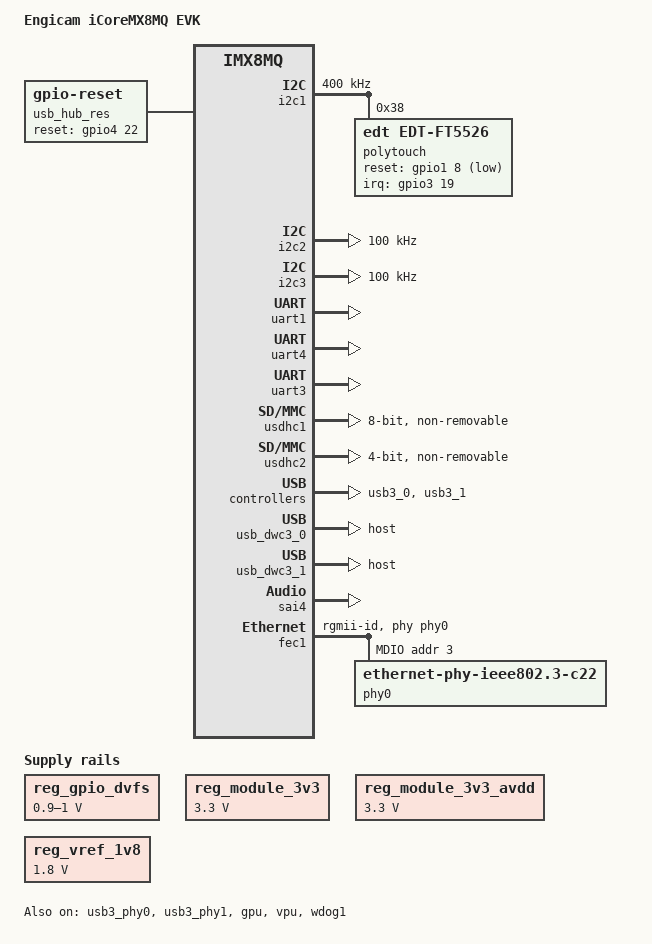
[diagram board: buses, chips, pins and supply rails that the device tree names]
/*
 * Copyright 2017 NXP
 *
 * This program is free software; you can redistribute it and/or
 * modify it under the terms of the GNU General Public License
 * as published by the Free Software Foundation; either version 2
 * of the License, or (at your option) any later version.
 *
 * This program is distributed in the hope that it will be useful,
 * but WITHOUT ANY WARRANTY; without even the implied warranty of
 * MERCHANTABILITY or FITNESS FOR A PARTICULAR PURPOSE.  See the
 * GNU General Public License for more details.
 */

/dts-v1/;

//#include "../freescale/fsl-imx8mq.dtsi"
#include "icoremx8mq.dtsi"
#include "icoremx8m-lcdif-sn65dsi83.dtsi"
#include "icoremx8m-laird.dtsi"
#include "icoremx8m-sgtl5000.dtsi"
//#include "icoremx8m-hdmi.dtsi"

/ {
	model = "Engicam iCoreMX8MQ EVK";
	compatible = "fsl,imx8mq-evk", "fsl,imx8mq";

	regulators {
		compatible = "simple-bus";
		#address-cells = <1>;
		#size-cells = <0>;

		reg_usdhc2_vmmc: usdhc2_vmmc {
            compatible = "regulator-dummy"; 
		};

		reg_gpio_dvfs: regulator-gpio {
            pinctrl-names = "default";
			pinctrl-0 = <&pinctrl_dvfs>;
			compatible = "regulator-gpio";
            regulator-name = "CPU-BOOST";
			regulator-min-microvolt = <900000>;
			regulator-max-microvolt = <1000000>;
			gpios = <&gpio4 2 GPIO_ACTIVE_HIGH>;
            regulator-type = "voltage";
            states = <900000 0x0 1000000 0x1>;
		};
        
	};
/*    
    sound-hdmi {
		compatible = "fsl,imx-audio-cdnhdmi";
		model = "imx-audio-hdmi";
		audio-cpu = <&sai4>;
		protocol = <1>;
	};

   	sound-hdmi-arc {
		compatible = "fsl,imx-audio-spdif";
		model = "imx-hdmi-arc";
		spdif-controller = <&spdif2>;
		spdif-in;
	};
*/
    reg_module_3v3: regulator-module-3v3 {
        compatible = "regulator-fixed";
        regulator-name = "+V3.3";
        regulator-min-microvolt = <3300000>;
        regulator-max-microvolt = <3300000>;
    };

    reg_module_3v3_avdd: regulator-module-3v3-avdd {
        compatible = "regulator-fixed";
        regulator-name = "+V3.3_AVDD_AUDIO";
        regulator-min-microvolt = <3300000>;
        regulator-max-microvolt = <3300000>;
    };

    reg_vref_1v8: regulator-vref-1v8 {
        compatible = "regulator-fixed";
        regulator-name = "vref-1v8";
        regulator-min-microvolt = <1800000>;
        regulator-max-microvolt = <1800000>;
    };
};


&iomuxc {
    	icoremx8mq {        
        pinctrl_csi1: csi1grp {
			fsl,pins = <
				MX8MQ_IOMUXC_GPIO1_IO03_GPIO1_IO3		0x19
				MX8MQ_IOMUXC_GPIO1_IO06_GPIO1_IO6		0x19
				MX8MQ_IOMUXC_GPIO1_IO15_CCMSRCGPCMIX_CLKO2	0x59
			>;
		};
		pinctrl_csi2: csi2grp {
			fsl,pins = <
				MX8MQ_IOMUXC_GPIO1_IO05_GPIO1_IO5		0x19
				MX8MQ_IOMUXC_GPIO1_IO06_GPIO1_IO6		0x19
				MX8MQ_IOMUXC_GPIO1_IO15_CCMSRCGPCMIX_CLKO2	0x59
			>;
		};

		pinctrl_i2c1: i2c1grp {
			fsl,pins = <
				MX8MQ_IOMUXC_I2C1_SCL_I2C1_SCL			0x4000007f
				MX8MQ_IOMUXC_I2C1_SDA_I2C1_SDA			0x4000007f
			>;
		};

		pinctrl_i2c2: i2c2grp {
			fsl,pins = <
				MX8MQ_IOMUXC_I2C2_SCL_I2C2_SCL			0x4000007f
				MX8MQ_IOMUXC_I2C2_SDA_I2C2_SDA			0x4000007f
			>;
		};

   		pinctrl_i2c3: i2c3grp {
			fsl,pins = <
				MX8MQ_IOMUXC_I2C3_SCL_I2C3_SCL			0x4000007f
				MX8MQ_IOMUXC_I2C3_SDA_I2C3_SDA			0x4000007f
			>;
		};
        
		pinctrl_pcie0: pcie0grp {
			fsl,pins = <
				MX8MQ_IOMUXC_SAI5_RXD3_GPIO3_IO24	0x16
			>;
		};

		pinctrl_pcie1: pcie1grp {
			fsl,pins = <
				MX8MQ_IOMUXC_I2C4_SDA_GPIO5_IO21	0x16
				MX8MQ_IOMUXC_ECSPI2_SCLK_GPIO5_IO10	0x16
				MX8MQ_IOMUXC_ECSPI2_MISO_GPIO5_IO12	0x16
			>;
		};

		pinctrl_dvfs: dvfsgrp {
			fsl,pins = <
                MX8MQ_IOMUXC_SAI1_RXD0_GPIO4_IO2		0x19 // gpio overclock
			>;
		};

		pinctrl_uart1: uart1grp {
			fsl,pins = <
				MX8MQ_IOMUXC_UART1_RXD_UART1_DCE_RX		0x49
				MX8MQ_IOMUXC_UART1_TXD_UART1_DCE_TX		0x49
			>;
		};

   		pinctrl_uart4: uart4grp {
			fsl,pins = <
				MX8MQ_IOMUXC_UART4_TXD_UART4_DCE_TX		0x49
				MX8MQ_IOMUXC_UART4_RXD_UART4_DCE_RX		0x49
			>;
		};

		pinctrl_uart3: uart3grp {
			fsl,pins = <
				MX8MQ_IOMUXC_UART3_TXD_UART3_DCE_TX		0x49
				MX8MQ_IOMUXC_UART3_RXD_UART3_DCE_RX		0x49
				MX8MQ_IOMUXC_ECSPI1_MISO_UART3_DCE_CTS_B	0x49
				MX8MQ_IOMUXC_ECSPI1_SS0_UART3_DCE_RTS_B		0x49
			>;
		};

		pinctrl_usdhc1: usdhc1grp {
			fsl,pins = <
				MX8MQ_IOMUXC_SD1_CLK_USDHC1_CLK			0x85
				MX8MQ_IOMUXC_SD1_CMD_USDHC1_CMD			0xc3
				MX8MQ_IOMUXC_SD1_DATA0_USDHC1_DATA0		0xc5
				MX8MQ_IOMUXC_SD1_DATA1_USDHC1_DATA1		0xc5
				MX8MQ_IOMUXC_SD1_DATA2_USDHC1_DATA2		0xc5
				MX8MQ_IOMUXC_SD1_DATA3_USDHC1_DATA3		0xc5
				MX8MQ_IOMUXC_SD1_DATA4_USDHC1_DATA4		0xc3
				MX8MQ_IOMUXC_SD1_DATA5_USDHC1_DATA5		0xc3
				MX8MQ_IOMUXC_SD1_DATA6_USDHC1_DATA6		0xc3
				MX8MQ_IOMUXC_SD1_DATA7_USDHC1_DATA7		0xc3
				MX8MQ_IOMUXC_SD1_STROBE_USDHC1_STROBE		0x83
				MX8MQ_IOMUXC_SD1_RESET_B_USDHC1_RESET_B		0xc1
			>;
		};

		pinctrl_usdhc1_100mhz: usdhc1grp100mhz {
			fsl,pins = <
				MX8MQ_IOMUXC_SD1_CLK_USDHC1_CLK			0x85
				MX8MQ_IOMUXC_SD1_CMD_USDHC1_CMD			0xc5
				MX8MQ_IOMUXC_SD1_DATA0_USDHC1_DATA0		0xc5
				MX8MQ_IOMUXC_SD1_DATA1_USDHC1_DATA1		0xc5
				MX8MQ_IOMUXC_SD1_DATA2_USDHC1_DATA2		0xc5
				MX8MQ_IOMUXC_SD1_DATA3_USDHC1_DATA3		0xc5
				MX8MQ_IOMUXC_SD1_DATA4_USDHC1_DATA4		0xc5
				MX8MQ_IOMUXC_SD1_DATA5_USDHC1_DATA5		0xc5
				MX8MQ_IOMUXC_SD1_DATA6_USDHC1_DATA6		0xc5
				MX8MQ_IOMUXC_SD1_DATA7_USDHC1_DATA7		0xc5
				MX8MQ_IOMUXC_SD1_STROBE_USDHC1_STROBE		0x85
				MX8MQ_IOMUXC_SD1_RESET_B_USDHC1_RESET_B		0xc1
			>;
		};

		pinctrl_usdhc1_200mhz: usdhc1grp200mhz {
			fsl,pins = <
				MX8MQ_IOMUXC_SD1_CLK_USDHC1_CLK			0x87
				MX8MQ_IOMUXC_SD1_CMD_USDHC1_CMD			0xc7
				MX8MQ_IOMUXC_SD1_DATA0_USDHC1_DATA0		0xc7
				MX8MQ_IOMUXC_SD1_DATA1_USDHC1_DATA1		0xc7
				MX8MQ_IOMUXC_SD1_DATA2_USDHC1_DATA2		0xc7
				MX8MQ_IOMUXC_SD1_DATA3_USDHC1_DATA3		0xc7
				MX8MQ_IOMUXC_SD1_DATA4_USDHC1_DATA4		0xc7
				MX8MQ_IOMUXC_SD1_DATA5_USDHC1_DATA5		0xc7
				MX8MQ_IOMUXC_SD1_DATA6_USDHC1_DATA6		0xc7
				MX8MQ_IOMUXC_SD1_DATA7_USDHC1_DATA7		0xc7
				MX8MQ_IOMUXC_SD1_STROBE_USDHC1_STROBE		0x87
				MX8MQ_IOMUXC_SD1_RESET_B_USDHC1_RESET_B		0xc1
			>;
		};

		pinctrl_usdhc2: usdhc2grp {
			fsl,pins = <
				MX8MQ_IOMUXC_SD2_CLK_USDHC2_CLK			0x83
				MX8MQ_IOMUXC_SD2_CMD_USDHC2_CMD			0xc3
				MX8MQ_IOMUXC_SD2_DATA0_USDHC2_DATA0		0xc3
				MX8MQ_IOMUXC_SD2_DATA1_USDHC2_DATA1		0xc3
				MX8MQ_IOMUXC_SD2_DATA2_USDHC2_DATA2		0xc3
				MX8MQ_IOMUXC_SD2_DATA3_USDHC2_DATA3		0xc3
				MX8MQ_IOMUXC_GPIO1_IO06_GPIO1_IO6       0x41
			>;
		};

		pinctrl_usdhc2_100mhz: usdhc2grp100mhz {
			fsl,pins = <
				MX8MQ_IOMUXC_SD2_CLK_USDHC2_CLK			0x85
				MX8MQ_IOMUXC_SD2_CMD_USDHC2_CMD			0xc5
				MX8MQ_IOMUXC_SD2_DATA0_USDHC2_DATA0		0xc5
				MX8MQ_IOMUXC_SD2_DATA1_USDHC2_DATA1		0xc5
				MX8MQ_IOMUXC_SD2_DATA2_USDHC2_DATA2		0xc5
				MX8MQ_IOMUXC_SD2_DATA3_USDHC2_DATA3		0xc5
				MX8MQ_IOMUXC_GPIO1_IO06_GPIO1_IO6       0x41
			>;
		};

		pinctrl_usdhc2_200mhz: usdhc2grp200mhz {
			fsl,pins = <
				MX8MQ_IOMUXC_SD2_CLK_USDHC2_CLK			0x87
				MX8MQ_IOMUXC_SD2_CMD_USDHC2_CMD			0xc7
				MX8MQ_IOMUXC_SD2_DATA0_USDHC2_DATA0		0xc7
				MX8MQ_IOMUXC_SD2_DATA1_USDHC2_DATA1		0xc7
				MX8MQ_IOMUXC_SD2_DATA2_USDHC2_DATA2		0xc7
				MX8MQ_IOMUXC_SD2_DATA3_USDHC2_DATA3		0xc7
				MX8MQ_IOMUXC_GPIO1_IO06_GPIO1_IO6       0x41
			>;
		};

		pinctrl_spdif1: spdif1grp {
			fsl,pins = <
				MX8MQ_IOMUXC_SPDIF_TX_SPDIF1_OUT	0xd6
				MX8MQ_IOMUXC_SPDIF_RX_SPDIF1_IN		0xd6
			>;
		};
		
		
		pinctrl_edt_ft5x26: ft5x26grp {
			fsl,pins = <
				MX8MQ_IOMUXC_SAI5_RXFS_GPIO3_IO19 0x41 /*interrupt PIN7*/ 
				MX8MQ_IOMUXC_GPIO1_IO08_GPIO1_IO8 0x41 /*reset edt*/
			>;		
		};
		
	};
};

&i2c1 {
	clock-frequency = <400000>;
	pinctrl-names = "default";
	pinctrl-0 = <&pinctrl_i2c1>;
	status = "okay";
	
	polytouch: edt-ft5x26@38 {
		compatible = "edt,edt-ft5526";
		reg = <0x38>;
		pinctrl-names = "default";		
		pinctrl-0 = <&pinctrl_edt_ft5x26>;
		interrupt-parent = <&gpio3>;
		interrupts = <19 0>;	
		reset-gpios = <&gpio1 8 1>;
	};

};

&i2c2 {
	clock-frequency = <100000>;
	pinctrl-names = "default";
	pinctrl-0 = <&pinctrl_i2c2>;
	status = "okay";
};


&i2c3 {
	clock-frequency = <100000>;
	pinctrl-names = "default";
	pinctrl-0 = <&pinctrl_i2c3>;
	status = "okay";
};


&pcie0{
	pinctrl-names = "default";
	pinctrl-0 = <&pinctrl_pcie0>;
	reset-gpio = <&gpio3 24 GPIO_ACTIVE_LOW>;
	ext_osc = <1>;
	hard-wired = <0>;
	status = "disabled";
};

&pcie1{
	pinctrl-names = "default";
	pinctrl-0 = <&pinctrl_pcie1>;
	clkreq-gpio = <&gpio5 21 GPIO_ACTIVE_LOW>;
	disable-gpio = <&gpio5 10 GPIO_ACTIVE_LOW>;
	reset-gpio = <&gpio5 12 GPIO_ACTIVE_LOW>;
	ext_osc = <1>;
	status = "disabled";
};


&uart1 { 
	pinctrl-names = "default";
	pinctrl-0 = <&pinctrl_uart1>;
	assigned-clocks = <&clk IMX8MQ_CLK_UART1>;
	assigned-clock-parents = <&clk IMX8MQ_CLK_25M>;
	status = "okay";
};

&uart4 { 
	pinctrl-names = "default";
	pinctrl-0 = <&pinctrl_uart4>;
	assigned-clocks = <&clk IMX8MQ_CLK_UART4>;
	assigned-clock-parents = <&clk IMX8MQ_CLK_25M>;
	status = "okay";
};

&uart3 { /* BT */
	pinctrl-names = "default";
	pinctrl-0 = <&pinctrl_uart3>;
	assigned-clocks = <&clk IMX8MQ_CLK_UART3>;
	assigned-clock-parents = <&clk IMX8MQ_SYS1_PLL_80M>;
	fsl,uart-has-rtscts;
	status = "okay";
};


&usdhc1 {
	pinctrl-names = "default", "state_100mhz", "state_200mhz";
	pinctrl-0 = <&pinctrl_usdhc1>;
	pinctrl-1 = <&pinctrl_usdhc1_100mhz>;
	pinctrl-2 = <&pinctrl_usdhc1_200mhz>;
	bus-width = <8>;
    max-frequency = <25000000>;	
	non-removable;
	status = "okay";	
};

&usdhc2 {
	pinctrl-names = "default", "state_100mhz", "state_200mhz";
	pinctrl-0 = <&pinctrl_usdhc2>;
	pinctrl-1 = <&pinctrl_usdhc2_100mhz>;
	pinctrl-2 = <&pinctrl_usdhc2_200mhz>;
	bus-width = <4>;
    max-frequency = <25000000>;	
	non-removable;
	status = "okay";
};

&iomuxc {
	icoremx8m {
        	pinctrl_usb2_reset: usb2grp {
			fsl,pins = <
                MX8MQ_IOMUXC_SAI2_RXC_GPIO4_IO22 0x19
			>;
		};
    };
};

/ {
    usb_hub_res:gpio-reset {
        compatible = "gpio-reset";
        pinctrl-names = "default";
        pinctrl-0 = <&pinctrl_usb2_reset>;
        reset-gpios = <&gpio4 22 GPIO_ACTIVE_HIGH>;
        initially-in-reset;
        reset-delay-us = <100000>;
        #reset-cells = <0>;
    };
};


&usb3_phy0 {
	status = "okay";
};

&usb3_0 {
    resets = <&usb_hub_res>;
	status = "okay";
};


&usb_dwc3_0 {
	status = "okay";
	dr_mode = "host";
};

&usb3_phy1 {
	status = "okay";
};

&usb3_1 {
	status = "okay";
};

&usb_dwc3_1 {
	status = "okay";
	dr_mode = "host";
};


&sai4 {
	assigned-clocks = <&clk IMX8MQ_CLK_SAI4>;
	assigned-clock-parents = <&clk IMX8MQ_AUDIO_PLL1_OUT>;
	assigned-clock-rates = <24576000>;
	clocks = <&clk IMX8MQ_CLK_SAI4_IPG>, <&clk IMX8MQ_CLK_DUMMY>,
		<&clk IMX8MQ_CLK_SAI4_ROOT>, <&clk IMX8MQ_CLK_DUMMY>,
		<&clk IMX8MQ_CLK_DUMMY>, <&clk IMX8MQ_AUDIO_PLL1_OUT>,
		<&clk IMX8MQ_AUDIO_PLL2_OUT>;
	clock-names = "bus", "mclk0", "mclk1", "mclk2", "mclk3", "pll8k", "pll11k";
	status = "okay";
};


&gpu_pd {
	power-supply = <&reg_vref_1v8>;
};

&vpu_pd {
	power-supply = <&reg_vref_1v8>;
};

&gpu {
	status = "okay";
};

&vpu {
	status = "okay";
};


&mu {
	status = "disabled";
};

&rpmsg{
	/*
	 * 64K for one rpmsg instance:
	 * --0xb8000000~0xb800ffff: pingpong
	 */
	vdev-nums = <1>;
	reg = <0x0 0xb8000000 0x0 0x10000>;
	status = "disabled";
};

&A53_0 {
	operating-points = <
		/* kHz    uV */
		1500000 1000000
		1300000 1000000
		1000000 900000
		800000  900000
	>;
	dc-supply = <&reg_gpio_dvfs>;
};

&csi1_bridge {
	fsl,mipi-mode;
	fsl,two-8bit-sensor-mode;
	status = "disabled";
};

&csi2_bridge {
	fsl,mipi-mode;
	fsl,two-8bit-sensor-mode;
	status = "disabled";
};

&mipi_csi_1 {
	#address-cells = <1>;
	#size-cells = <0>;
	status = "disabled";
};

&mipi_csi_2 {
	#address-cells = <1>;
	#size-cells = <0>;
	status = "disabled";
};

&iomuxc {
	icoremx8m {
        	pinctrl_fec1: fec1grp {
			fsl,pins = <
				MX8MQ_IOMUXC_ENET_MDC_ENET1_MDC		    0x3
				MX8MQ_IOMUXC_ENET_MDIO_ENET1_MDIO	    0x23
				MX8MQ_IOMUXC_ENET_TXC_ENET1_RGMII_TXC	0x1f
				MX8MQ_IOMUXC_ENET_TD3_ENET1_RGMII_TD3	0x1f
				MX8MQ_IOMUXC_ENET_TD2_ENET1_RGMII_TD2	0x1f
				MX8MQ_IOMUXC_ENET_TD1_ENET1_RGMII_TD1	0x1f
				MX8MQ_IOMUXC_ENET_TD0_ENET1_RGMII_TD0	0x1f
				MX8MQ_IOMUXC_ENET_RXC_ENET1_RGMII_RXC	0x91
				MX8MQ_IOMUXC_ENET_RD3_ENET1_RGMII_RD3	0x91
				MX8MQ_IOMUXC_ENET_RD2_ENET1_RGMII_RD2	0x91
				MX8MQ_IOMUXC_ENET_RD1_ENET1_RGMII_RD1	0x91
				MX8MQ_IOMUXC_ENET_RD0_ENET1_RGMII_RD0	0x91
				MX8MQ_IOMUXC_ENET_RX_CTL_ENET1_RGMII_RX_CTL	0x91
				MX8MQ_IOMUXC_ENET_TX_CTL_ENET1_RGMII_TX_CTL	0x1f
								
				MX8MQ_IOMUXC_GPIO1_IO09_GPIO1_IO9	0x19
				MX8MQ_IOMUXC_GPIO1_IO14_CCMSRCGPCMIX_CLKO1	0xd
			>;
		};
    };
};

&fec1 {
	pinctrl-names = "default";
	pinctrl-0 = <&pinctrl_fec1>;
	phy-mode = "rgmii-id";
	phy-handle = <&phy0>;
	status = "okay";

    mdio {
        	#address-cells = <1>;
            #size-cells = <0>;
            phy0: ethernet-phy@3 {
                    reg = <3>;
                    compatible = "ethernet-phy-ieee802.3-c22";
                    device_type = "ethernet-phy";
                    rxc-skew-ps = <3000>;
                    rxdv-skew-ps = <0>;
                    txc-skew-ps = <3000>;
                    txen-skew-ps = <0>;
            };
    };

};

&wdog1 {
	fsl,ext-reset-output;
	status = "okay";
};
